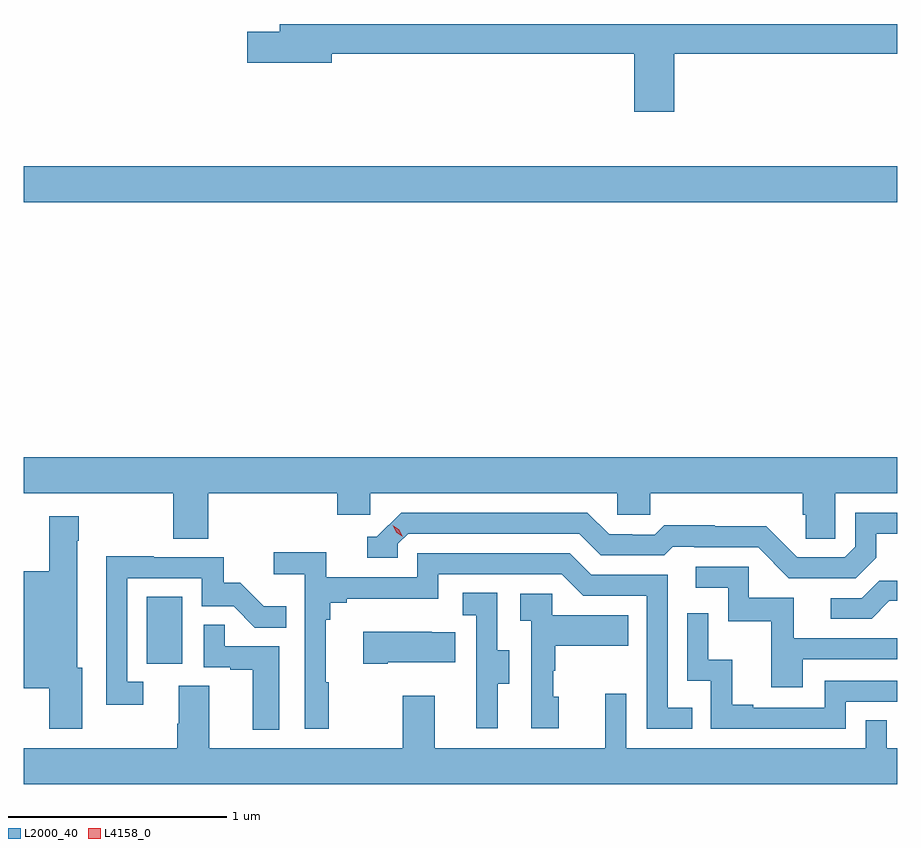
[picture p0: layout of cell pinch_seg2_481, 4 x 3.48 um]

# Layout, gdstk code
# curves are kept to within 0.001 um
import gdstk
lib = gdstk.Library(unit=1e-6, precision=1e-09)
def R(c, l, rs):  # rectangles x0, y0, x1, y1
    for r in rs: c.add(gdstk.rectangle(r[:2], r[2:], *l))
def P(c, l, *ps):  # polygons
    for p in ps: c.add(gdstk.Polygon(p, *l))
L2000_40 = (2000, 40)
L4158_0 = (4158, 0)

pinch_seg2_481 = lib.new_cell('pinch_seg2_481')
R(pinch_seg2_481, L2000_40, [(912.35,601.566,912.514,601.873), (911.787,603.68,915.787,603.844)])
P(pinch_seg2_481, L2000_40, [(914.765,604.36),(915.787,604.36),(915.787,604.496),(912.959,604.496),(912.959,604.46),(912.81,604.46),(912.81,604.318),(913.198,604.318),(913.198,604.36),(914.582,604.36),(914.582,604.095),(914.765,604.095)],
  [(912.632,602.348),(913.223,602.348),(913.223,602.25),(913.374,602.25),(913.374,602.348),(914.505,602.348),(914.505,602.25),(914.655,602.25),(914.655,602.348),(915.353,602.348),(915.353,602.25),(915.367,602.25),(915.367,602.14),(915.504,602.14),(915.504,602.348),(915.787,602.348),(915.787,602.512),(911.787,602.512),(911.787,602.348),(912.472,602.348),(912.472,602.14),(912.632,602.14)],
  [(915.691,602.053),(915.691,602.163),(915.787,602.163),(915.787,602.259),(915.594,602.259),(915.594,602.103),(915.546,602.055),(915.33,602.055),(915.188,602.197),(914.952,602.197),(914.952,602.2),(914.719,602.2),(914.677,602.157),(914.574,602.157),(914.574,602.16),(914.467,602.16),(914.368,602.259),(913.515,602.259),(913.404,602.148),(913.361,602.148),(913.361,602.052),(913.5,602.052),(913.5,602.115),(913.548,602.163),(914.331,602.163),(914.43,602.064),(914.719,602.064),(914.758,602.103),(914.857,602.103),(914.857,602.1),(915.15,602.1),(915.291,601.959),(915.597,601.959)],
  [(912.055,601.548),(912.031,601.548),(912.031,602.129),(912.039,602.129),(912.039,602.242),(911.903,602.242),(911.903,601.99),(911.787,601.99),(911.787,601.455),(911.903,601.455),(911.903,601.269),(912.055,601.269)],
  [(913.183,601.481),(913.171,601.481),(913.171,601.769),(913.19,601.769),(913.19,601.846),(913.267,601.846),(913.267,601.865),(913.686,601.865),(913.686,601.977),(914.25,601.977),(914.349,601.878),(914.64,601.878),(914.64,601.269),(914.849,601.269),(914.849,601.365),(914.736,601.365),(914.736,601.974),(914.386,601.974),(914.287,602.073),(913.59,602.073),(913.59,601.962),(913.172,601.962),(913.172,602.078),(912.933,602.078),(912.933,601.976),(913.074,601.976),(913.074,601.269),(913.183,601.269)],
  [(912.334,601.485),(912.261,601.485),(912.261,601.959),(912.603,601.959),(912.603,601.83),(912.748,601.83),(912.846,601.732),(912.989,601.732),(912.989,601.831),(912.885,601.831),(912.778,601.938),(912.702,601.938),(912.702,602.055),(912.383,602.055),(912.383,602.06),(912.164,602.06),(912.165,601.38),(912.334,601.38)],
  [(915.355,601.587),(915.787,601.587),(915.787,601.683),(915.313,601.683),(915.313,601.869),(915.108,601.869),(915.108,602.01),(914.865,602.01),(914.865,601.914),(915.012,601.914),(915.012,601.761),(915.211,601.761),(915.211,601.458),(915.355,601.458)],
  [(915.751,601.854),(915.787,601.854),(915.787,601.946),(915.704,601.946),(915.624,601.866),(915.483,601.866),(915.483,601.773),(915.67,601.773)],
  [(913.957,601.474),(914.011,601.474),(914.011,601.629),(913.956,601.629),(913.956,601.892),(913.797,601.892),(913.797,601.789),(913.86,601.789),(913.86,601.485),(913.859,601.485),(913.859,601.272),(913.957,601.272)],
  [(914.236,601.416),(914.211,601.416),(914.211,601.535),(914.221,601.535),(914.221,601.649),(914.555,601.649),(914.555,601.789),(914.208,601.789),(914.208,601.887),(914.061,601.887),(914.061,601.763),(914.112,601.763),(914.112,601.272),(914.236,601.272)],
  [(915.552,601.392),(915.787,601.392),(915.787,601.488),(915.456,601.488),(915.456,601.365),(915.127,601.365),(915.127,601.378),(915.032,601.378),(915.032,601.586),(914.922,601.586),(914.922,601.798),(914.826,601.798),(914.826,601.488),(914.934,601.488),(914.934,601.269),(915.552,601.269)],
  [(912.958,601.647),(912.707,601.647),(912.707,601.745),(912.612,601.745),(912.612,601.551),(912.733,601.551),(912.733,601.539),(912.836,601.539),(912.836,601.265),(912.958,601.265)],
  [(913.453,601.574),(913.763,601.574),(913.763,601.711),(913.655,601.711),(913.655,601.714),(913.341,601.714),(913.341,601.567),(913.453,601.567)],
  [(915.787,601.18),(915.738,601.18),(915.738,601.307),(915.642,601.307),(915.642,601.18),(914.547,601.18),(914.547,601.429),(914.45,601.429),(914.45,601.18),(913.669,601.18),(913.669,601.42),(913.522,601.42),(913.522,601.18),(912.637,601.18),(912.637,601.466),(912.497,601.466),(912.497,601.292),(912.49,601.292),(912.49,601.18),(911.787,601.18),(911.787,601.016),(915.787,601.016)])
P(pinch_seg2_481, L4158_0, [(913.523,602.148),(913.492,602.168),(913.476,602.2),(913.476,602.201),(913.476,602.201),(913.507,602.181),(913.523,602.148),(913.523,602.148)])

lib.write_gds('pinch_seg2_481.gds')
